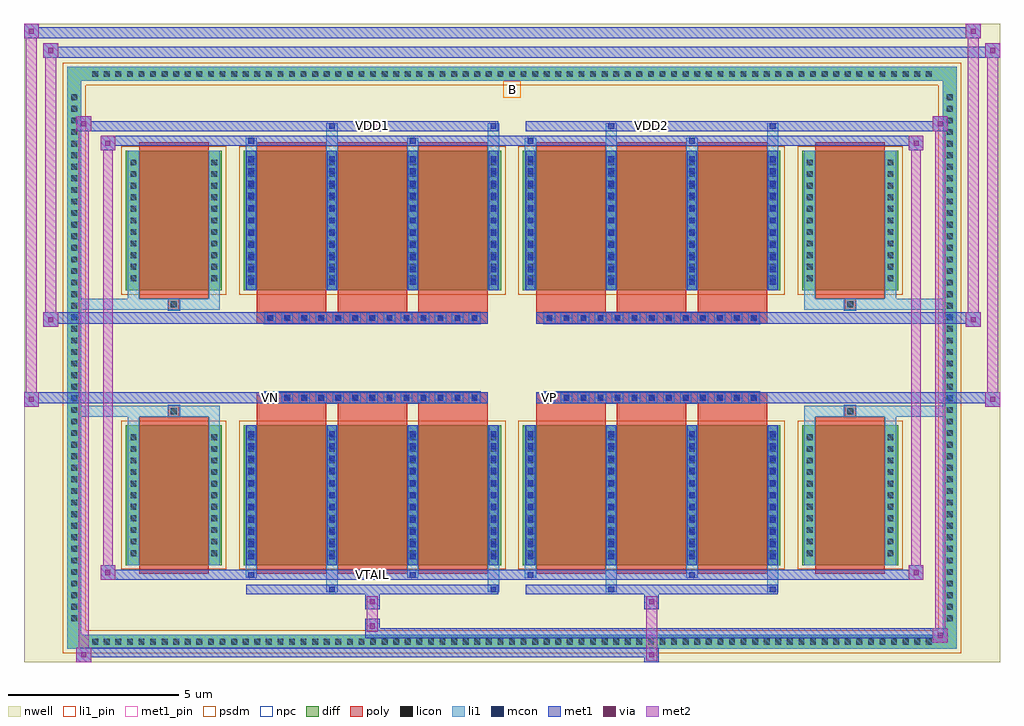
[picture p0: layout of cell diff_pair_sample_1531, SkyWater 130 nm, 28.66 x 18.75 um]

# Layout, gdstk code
import gdstk
lib = gdstk.Library(unit=1e-6, precision=5e-09)
def R(c, l, rs):  # rectangles x0, y0, x1, y1
    for r in rs: c.add(gdstk.rectangle(r[:2], r[2:], *l))
def A(c, l, x, y, w, h, nx, ny, dx, dy):  # array of equal rectangles
    R(c, l, [(x+i*dx, y+j*dy, x+i*dx+w, y+j*dy+h) for i in range(nx) for j in range(ny)])
def P(c, l, *ps):  # polygons
    for p in ps: c.add(gdstk.Polygon(p, *l))
nwell = (64, 20)
diff = (65, 20)
poly = (66, 20)
licon = (66, 44)
li1_pin = (67, 16)
li1 = (67, 20)
mcon = (67, 44)
met1_pin = (68, 16)
met1 = (68, 20)
via = (68, 44)
met2 = (69, 20)
psdm = (94, 20)
npc = (95, 20)

diff_pair_sample_1531 = lib.new_cell('diff_pair_sample_1531')
R(diff_pair_sample_1531, nwell, [(-14.33,-8.94,14.33,9.81), (-11.65,-7.13,-0.01,-0.805), (0.01,-7.13,11.65,-0.805), (-11.65,0.805,-0.01,7.13), (0.01,0.805,11.65,7.13)])
A(diff_pair_sample_1531, diff, -12.445, -8.54, 0.41, 0.41, 73, 2, 0.34, 16.67)
A(diff_pair_sample_1531, diff, -13.06, -7.855, 0.41, 0.41, 1, 46, 0, 0.34)
A(diff_pair_sample_1531, diff, 12.65, -7.855, 0.41, 0.41, 1, 46, 0, 0.34)
R(diff_pair_sample_1531, diff, [(-12.445,-8.54,12.445,-8.13), (-13.06,-7.855,-12.65,7.855), (12.65,-7.855,13.06,7.855), (-11.34,-6.085,-8.52,-1.985), (-7.88,-6.085,-0.32,-1.985), (0.32,-6.085,7.88,-1.985), (8.52,-6.085,11.34,-1.985), (-11.34,1.985,-8.52,6.085), (-7.88,1.985,-0.32,6.085), (0.32,1.985,7.88,6.085), (8.52,1.985,11.34,6.085), (-12.445,8.13,12.445,8.54)])
P(diff_pair_sample_1531, diff, [(13.06,8.54),(-13.06,8.54),(-13.06,-8.13),(-12.65,-8.13),(-12.65,8.13),(12.65,8.13),(12.65,-8.13),(-12.65,-8.13),(-13.06,-8.13),(-13.06,-8.54),(13.06,-8.54)])
A(diff_pair_sample_1531, poly, -7.49, -6.335, 2.04, 4.6, 3, 2, 2.37, 8.07)
A(diff_pair_sample_1531, poly, 0.71, -6.335, 2.04, 4.6, 3, 2, 2.37, 8.07)
A(diff_pair_sample_1531, poly, -7.49, -1.735, 2.04, 0.4, 3, 2, 2.37, 3.07)
A(diff_pair_sample_1531, poly, 0.71, -1.735, 2.04, 0.4, 3, 2, 2.37, 3.07)
A(diff_pair_sample_1531, poly, -7.265, -1.335, 0.33, 0.33, 13, 2, 0.5, 2.34)
A(diff_pair_sample_1531, poly, 0.935, -1.335, 0.33, 0.33, 13, 2, 0.5, 2.34)
R(diff_pair_sample_1531, poly, [(-10.95,-6.335,-8.91,-1.735), (8.91,-6.335,10.95,-1.735), (-10.095,-1.735,-9.765,-1.405), (-10.095,-1.735,-9.765,-1.405), (9.765,-1.735,10.095,-1.405), (9.765,-1.735,10.095,-1.405), (-7.49,-1.335,-0.71,-1.005), (0.71,-1.335,7.49,-1.005), (-7.49,1.005,-0.71,1.335), (0.71,1.005,7.49,1.335), (-10.095,1.405,-9.765,1.735), (-10.095,1.405,-9.765,1.735), (9.765,1.405,10.095,1.735), (9.765,1.405,10.095,1.735), (-10.95,1.735,-8.91,6.335), (8.91,1.735,10.95,6.335)])
A(diff_pair_sample_1531, licon, -12.325, -8.42, 0.17, 0.17, 73, 2, 0.34, 16.67)
A(diff_pair_sample_1531, licon, -12.94, -7.735, 0.17, 0.17, 1, 46, 0, 0.34)
A(diff_pair_sample_1531, licon, 12.77, -7.735, 0.17, 0.17, 1, 46, 0, 0.34)
A(diff_pair_sample_1531, licon, -11.2, -5.82, 0.17, 0.17, 1, 11, 0, 0.34)
A(diff_pair_sample_1531, licon, -8.83, -5.82, 0.17, 0.17, 1, 11, 0, 0.34)
A(diff_pair_sample_1531, licon, -7.74, -5.82, 0.17, 0.17, 4, 11, 2.37, 0.34)
A(diff_pair_sample_1531, licon, 0.46, -5.82, 0.17, 0.17, 4, 11, 2.37, 0.34)
A(diff_pair_sample_1531, licon, 8.66, -5.82, 0.17, 0.17, 1, 11, 0, 0.34)
A(diff_pair_sample_1531, licon, 11.03, -5.82, 0.17, 0.17, 1, 11, 0, 0.34)
A(diff_pair_sample_1531, licon, -7.185, -1.255, 0.17, 0.17, 13, 2, 0.5, 2.34)
A(diff_pair_sample_1531, licon, 1.015, -1.255, 0.17, 0.17, 13, 2, 0.5, 2.34)
A(diff_pair_sample_1531, licon, -11.2, 2.25, 0.17, 0.17, 1, 11, 0, 0.34)
A(diff_pair_sample_1531, licon, -8.83, 2.25, 0.17, 0.17, 1, 11, 0, 0.34)
A(diff_pair_sample_1531, licon, -7.74, 2.25, 0.17, 0.17, 4, 11, 2.37, 0.34)
A(diff_pair_sample_1531, licon, 0.46, 2.25, 0.17, 0.17, 4, 11, 2.37, 0.34)
A(diff_pair_sample_1531, licon, 8.66, 2.25, 0.17, 0.17, 1, 11, 0, 0.34)
A(diff_pair_sample_1531, licon, 11.03, 2.25, 0.17, 0.17, 1, 11, 0, 0.34)
R(diff_pair_sample_1531, licon, [(-10.015,-1.655,-9.845,-1.485), (9.845,-1.655,10.015,-1.485), (-10.015,1.485,-9.845,1.655), (9.845,1.485,10.015,1.655)])
R(diff_pair_sample_1531, li1_pin, [(-0.25,7.63,0.25,8.13)])
A(diff_pair_sample_1531, li1, -12.405, -8.5, 0.33, 0.33, 73, 2, 0.34, 16.67)
A(diff_pair_sample_1531, li1, -13.02, -7.815, 0.33, 0.33, 1, 46, 0, 0.34)
A(diff_pair_sample_1531, li1, 12.69, -7.815, 0.33, 0.33, 1, 46, 0, 0.34)
A(diff_pair_sample_1531, li1, -7.82, -6.085, 0.33, 4.1, 4, 2, 2.37, 8.07)
A(diff_pair_sample_1531, li1, 0.38, -6.085, 0.33, 4.1, 4, 2, 2.37, 8.07)
A(diff_pair_sample_1531, li1, -7.74, -5.92, 0.17, 0.17, 4, 11, 2.37, 0.36)
A(diff_pair_sample_1531, li1, -7.74, -5.92, 0.17, 3.77, 4, 2, 2.37, 8.07)
A(diff_pair_sample_1531, li1, 0.46, -5.92, 0.17, 0.17, 4, 11, 2.37, 0.36)
A(diff_pair_sample_1531, li1, 0.46, -5.92, 0.17, 3.77, 4, 2, 2.37, 8.07)
A(diff_pair_sample_1531, li1, -11.28, -5.9, 0.33, 0.33, 1, 11, 0, 0.34)
A(diff_pair_sample_1531, li1, -8.91, -5.9, 0.33, 0.33, 1, 11, 0, 0.34)
A(diff_pair_sample_1531, li1, -7.82, -5.9, 0.33, 0.33, 4, 11, 2.37, 0.34)
A(diff_pair_sample_1531, li1, 0.38, -5.9, 0.33, 0.33, 4, 11, 2.37, 0.34)
A(diff_pair_sample_1531, li1, 8.58, -5.9, 0.33, 0.33, 1, 11, 0, 0.34)
A(diff_pair_sample_1531, li1, 10.95, -5.9, 0.33, 0.33, 1, 11, 0, 0.34)
A(diff_pair_sample_1531, li1, -7.265, -1.335, 0.33, 0.33, 13, 2, 0.5, 2.34)
A(diff_pair_sample_1531, li1, 0.935, -1.335, 0.33, 0.33, 13, 2, 0.5, 2.34)
A(diff_pair_sample_1531, li1, -7.74, 2.15, 0.17, 0.17, 4, 11, 2.37, 0.36)
A(diff_pair_sample_1531, li1, 0.46, 2.15, 0.17, 0.17, 4, 11, 2.37, 0.36)
A(diff_pair_sample_1531, li1, -11.28, 2.17, 0.33, 0.33, 1, 11, 0, 0.34)
A(diff_pair_sample_1531, li1, -8.91, 2.17, 0.33, 0.33, 1, 11, 0, 0.34)
A(diff_pair_sample_1531, li1, -7.82, 2.17, 0.33, 0.33, 4, 11, 2.37, 0.34)
A(diff_pair_sample_1531, li1, 0.38, 2.17, 0.33, 0.33, 4, 11, 2.37, 0.34)
A(diff_pair_sample_1531, li1, 8.58, 2.17, 0.33, 0.33, 1, 11, 0, 0.34)
A(diff_pair_sample_1531, li1, 10.95, 2.17, 0.33, 0.33, 1, 11, 0, 0.34)
R(diff_pair_sample_1531, li1, [(-13.06,-8.54,-12.65,-8.13), (-13.06,-8.54,-12.65,-8.13), (-12.65,-8.54,12.65,-8.13), (12.65,-8.54,13.06,-8.13), (12.65,-8.54,13.06,-8.13), (-13.06,-8.13,-12.65,8.13), (12.65,-8.13,13.06,8.13), (-5.45,-6.89,-5.12,-6.085), (-5.37,-6.89,-5.2,-6.72), (-0.71,-6.89,-0.38,-6.085), (-0.63,-6.89,-0.46,-6.72), (2.75,-6.89,3.08,-6.085), (2.83,-6.89,3,-6.72), (7.49,-6.89,7.82,-6.085), (7.57,-6.89,7.74,-6.72), (-7.82,-6.46,-7.49,-6.085), (-7.74,-6.46,-7.57,-6.29), (-3.08,-6.46,-2.75,-6.085), (-3,-6.46,-2.83,-6.29), (0.38,-6.46,0.71,-6.085), (0.46,-6.46,0.63,-6.29), (5.12,-6.46,5.45,-6.085), (5.2,-6.46,5.37,-6.29), (-11.28,-6.085,-10.95,-1.985), (-8.91,-6.085,-8.58,-1.985), (8.58,-6.085,8.91,-1.985), (10.95,-6.085,11.28,-1.985), (-11.28,-1.985,-10.95,-1.405), (-8.91,-1.985,-8.58,-1.405), (8.58,-1.985,8.91,-1.405), (10.95,-1.985,11.28,-1.405), (-13.06,-1.735,-10.095,-1.405), (-11.28,-1.735,-10.095,-1.405), (-10.095,-1.735,-9.765,-1.405), (-9.765,-1.735,-8.58,-1.405), (8.58,-1.735,9.765,-1.405), (9.765,-1.735,10.095,-1.405), (9.765,-1.735,13.06,-1.405), (10.095,-1.735,11.28,-1.405), (-13.06,1.405,-10.095,1.735), (-11.28,1.405,-10.095,1.735), (-11.28,1.405,-10.95,1.985), (-10.095,1.405,-9.765,1.735), (-9.765,1.405,-8.58,1.735), (-8.91,1.405,-8.58,1.985), (8.58,1.405,9.765,1.735), (8.58,1.405,8.91,1.985), (9.765,1.405,10.095,1.735), (9.765,1.405,13.06,1.735), (10.095,1.405,11.28,1.735), (10.95,1.405,11.28,1.985), (-11.28,1.985,-10.95,6.085), (-8.91,1.985,-8.58,6.085), (8.58,1.985,8.91,6.085), (10.95,1.985,11.28,6.085), (-7.82,6.085,-7.49,6.46), (-5.45,6.085,-5.12,6.89), (-3.08,6.085,-2.75,6.46), (-0.71,6.085,-0.38,6.89), (0.38,6.085,0.71,6.46), (2.75,6.085,3.08,6.89), (5.12,6.085,5.45,6.46), (7.49,6.085,7.82,6.89), (-7.74,6.29,-7.57,6.46), (-3,6.29,-2.83,6.46), (0.46,6.29,0.63,6.46), (5.2,6.29,5.37,6.46), (-5.37,6.72,-5.2,6.89), (-0.63,6.72,-0.46,6.89), (2.83,6.72,3,6.89), (7.57,6.72,7.74,6.89), (-13.06,8.13,-12.65,8.54), (-13.06,8.13,-12.65,8.54), (-12.65,8.13,12.65,8.54), (12.65,8.13,13.06,8.54), (12.65,8.13,13.06,8.54)])
A(diff_pair_sample_1531, mcon, -7.74, -5.92, 0.17, 0.17, 4, 11, 2.37, 0.36)
A(diff_pair_sample_1531, mcon, 0.46, -5.92, 0.17, 0.17, 4, 11, 2.37, 0.36)
A(diff_pair_sample_1531, mcon, -7.185, -1.255, 0.17, 0.17, 13, 2, 0.5, 2.34)
A(diff_pair_sample_1531, mcon, 1.015, -1.255, 0.17, 0.17, 13, 2, 0.5, 2.34)
A(diff_pair_sample_1531, mcon, -7.74, 2.15, 0.17, 0.17, 4, 11, 2.37, 0.36)
A(diff_pair_sample_1531, mcon, 0.46, 2.15, 0.17, 0.17, 4, 11, 2.37, 0.36)
R(diff_pair_sample_1531, mcon, [(-5.37,-6.89,-5.2,-6.72), (-0.63,-6.89,-0.46,-6.72), (2.83,-6.89,3,-6.72), (7.57,-6.89,7.74,-6.72), (-7.74,-6.46,-7.57,-6.29), (-3,-6.46,-2.83,-6.29), (0.46,-6.46,0.63,-6.29), (5.2,-6.46,5.37,-6.29), (-7.74,6.29,-7.57,6.46), (-3,6.29,-2.83,6.46), (0.46,6.29,0.63,6.46), (5.2,6.29,5.37,6.46), (-5.37,6.72,-5.2,6.89), (-0.63,6.72,-0.46,6.89), (2.83,6.72,3,6.89), (7.57,6.72,7.74,6.89)])
R(diff_pair_sample_1531, met1_pin, [(-4.235,-6.5,-3.965,-6.23), (-7.235,-1.295,-6.965,-1.025), (0.965,-1.295,1.235,-1.025), (-4.235,6.68,-3.965,6.95), (3.965,6.68,4.235,6.95)])
A(diff_pair_sample_1531, met1, -7.8, -6.085, 0.29, 4.1, 4, 2, 2.37, 8.07)
A(diff_pair_sample_1531, met1, 0.4, -6.085, 0.29, 4.1, 4, 2, 2.37, 8.07)
A(diff_pair_sample_1531, met1, -7.8, -5.98, 0.29, 0.29, 4, 11, 2.37, 0.36)
A(diff_pair_sample_1531, met1, 0.4, -5.98, 0.29, 0.29, 4, 11, 2.37, 0.36)
A(diff_pair_sample_1531, met1, -7.245, -1.315, 0.29, 0.29, 13, 2, 0.5, 2.34)
A(diff_pair_sample_1531, met1, 0.955, -1.315, 0.29, 0.29, 13, 2, 0.5, 2.34)
A(diff_pair_sample_1531, met1, -7.8, 2.09, 0.29, 0.29, 4, 11, 2.37, 0.36)
A(diff_pair_sample_1531, met1, 0.4, 2.09, 0.29, 0.29, 4, 11, 2.37, 0.36)
R(diff_pair_sample_1531, met1, [(-12.79,-8.94,-12.36,-8.51), (3.885,-8.94,4.315,-8.51), (-12.79,-8.8,4.315,-8.51), (12.36,-8.37,12.79,-7.94), (-4.315,-8.23,12.79,-7.94), (-4.315,-8.09,-3.885,-7.66), (-4.315,-7.38,-3.885,-6.95), (3.885,-7.38,4.315,-6.95), (-7.8,-6.95,-0.4,-6.66), (-5.43,-6.95,-5.14,-6.66), (-0.69,-6.95,-0.4,-6.66), (0.4,-6.95,7.8,-6.66), (2.77,-6.95,3.06,-6.66), (7.51,-6.95,7.8,-6.66), (-12.08,-6.52,-11.65,-6.09), (-12.08,-6.52,-7.8,-6.23), (-7.8,-6.52,-7.51,-6.23), (-7.8,-6.52,-0.4,-6.23), (-3.06,-6.52,-2.77,-6.23), (-0.4,-6.52,0.4,-6.23), (0.4,-6.52,0.69,-6.23), (0.4,-6.52,7.8,-6.23), (5.14,-6.52,5.43,-6.23), (7.8,-6.52,12.08,-6.23), (11.65,-6.52,12.08,-6.09), (-14.33,-1.435,-13.9,-1.005), (13.9,-1.435,14.33,-1.005), (-14.33,-1.335,-0.71,-1.005), (-7.49,-1.335,-0.71,-1.005), (0.71,-1.335,7.49,-1.005), (0.71,-1.335,14.33,-1.005), (-13.76,0.905,-13.33,1.335), (13.33,0.905,13.76,1.335), (-13.76,1.005,-7.49,1.335), (-7.49,1.005,-0.71,1.335), (0.71,1.005,7.49,1.335), (7.49,1.005,13.76,1.335), (-12.08,6.09,-11.65,6.52), (11.65,6.09,12.08,6.52), (-12.08,6.23,-7.8,6.52), (-7.8,6.23,-7.51,6.52), (-7.8,6.23,-0.4,6.52), (-3.06,6.23,-2.77,6.52), (-0.4,6.23,0.4,6.52), (0.4,6.23,0.69,6.52), (0.4,6.23,7.8,6.52), (5.14,6.23,5.43,6.52), (7.8,6.23,12.08,6.52), (-12.79,6.66,-12.36,7.09), (-12.79,6.66,-7.8,6.95), (-7.8,6.66,-0.4,6.95), (-5.43,6.66,-5.14,6.95), (-0.69,6.66,-0.4,6.95), (0.4,6.66,7.8,6.95), (2.77,6.66,3.06,6.95), (7.51,6.66,7.8,6.95), (7.8,6.66,12.79,6.95), (12.36,6.66,12.79,7.09), (-13.76,8.81,-13.33,9.24), (-13.76,8.81,-11.65,9.14), (-11.65,8.81,11.65,9.14), (11.65,8.81,14.33,9.14), (13.9,8.81,14.33,9.24), (-14.33,9.38,-13.9,9.81), (-14.33,9.38,-11.65,9.71), (-11.65,9.38,11.65,9.71), (11.65,9.38,13.76,9.71), (13.33,9.38,13.76,9.81)])
R(diff_pair_sample_1531, via, [(-12.65,-8.8,-12.5,-8.65), (4.025,-8.8,4.175,-8.65), (12.5,-8.23,12.65,-8.08), (-4.175,-7.95,-4.025,-7.8), (-4.175,-7.24,-4.025,-7.09), (4.025,-7.24,4.175,-7.09), (-11.94,-6.38,-11.79,-6.23), (11.79,-6.38,11.94,-6.23), (-14.19,-1.295,-14.04,-1.145), (14.04,-1.295,14.19,-1.145), (-13.62,1.045,-13.47,1.195), (13.47,1.045,13.62,1.195), (-11.94,6.23,-11.79,6.38), (11.79,6.23,11.94,6.38), (-12.65,6.8,-12.5,6.95), (12.5,6.8,12.65,6.95), (-13.62,8.95,-13.47,9.1), (14.04,8.95,14.19,9.1), (-14.19,9.52,-14.04,9.67), (13.47,9.52,13.62,9.67)])
R(diff_pair_sample_1531, met2, [(-12.79,-8.94,-12.36,-8.51), (-12.72,-8.94,-12.43,7.09), (-12.43,-8.94,-12.36,-8.51), (-12.74,-8.89,-12.41,-8.56), (3.935,-8.89,4.265,-8.56), (3.935,-8.56,4.265,-7.33), (12.36,-8.37,12.79,-7.94), (12.43,-8.37,12.72,7.09), (12.72,-8.37,12.79,-7.94), (12.41,-8.32,12.74,-7.99), (-4.265,-8.04,-3.935,-7.71), (-4.265,-7.71,-3.935,-7.33), (-4.265,-7.33,-3.935,-7), (3.935,-7.33,4.265,-7), (-12.08,-6.52,-11.65,-6.09), (-12.01,-6.52,-11.72,6.52), (-11.72,-6.52,-11.65,-6.09), (11.65,-6.52,12.08,-6.09), (11.72,-6.52,12.01,6.52), (12.01,-6.52,12.08,-6.09), (-12.03,-6.47,-11.7,-6.14), (11.7,-6.47,12.03,-6.14), (-14.33,-1.435,-13.9,-1.005), (-14.28,-1.435,-13.95,9.81), (-13.95,-1.435,-13.9,-1.005), (13.9,-1.435,14.33,-1.005), (13.95,-1.435,14.28,9.24), (14.28,-1.435,14.33,-1.005), (-14.28,-1.385,-13.95,-1.055), (13.95,-1.385,14.28,-1.055), (-13.76,0.905,-13.33,1.335), (-13.71,0.905,-13.38,9.24), (-13.38,0.905,-13.33,1.335), (13.33,0.905,13.76,1.335), (13.38,0.905,13.71,9.81), (13.71,0.905,13.76,1.335), (-13.71,0.955,-13.38,1.285), (13.38,0.955,13.71,1.285), (-12.08,6.09,-11.65,6.52), (-11.72,6.09,-11.65,6.52), (11.65,6.09,12.08,6.52), (12.01,6.09,12.08,6.52), (-12.03,6.14,-11.7,6.47), (11.7,6.14,12.03,6.47), (-12.79,6.66,-12.36,7.09), (-12.43,6.66,-12.36,7.09), (12.36,6.66,12.79,7.09), (12.72,6.66,12.79,7.09), (-12.74,6.71,-12.41,7.04), (12.41,6.71,12.74,7.04), (-13.76,8.81,-13.33,9.24), (-13.38,8.81,-13.33,9.24), (13.9,8.81,14.33,9.24), (14.28,8.81,14.33,9.24), (-13.71,8.86,-13.38,9.19), (13.95,8.86,14.28,9.19), (-14.33,9.38,-13.9,9.81), (-13.95,9.38,-13.9,9.81), (13.33,9.38,13.76,9.81), (13.71,9.38,13.76,9.81), (-14.28,9.43,-13.95,9.76), (13.38,9.43,13.71,9.76)])
R(diff_pair_sample_1531, psdm, [(-11.47,-6.215,-8.39,-1.855), (-8.01,-6.215,-0.19,-1.855), (0.19,-6.215,8.01,-1.855), (8.39,-6.215,11.47,-1.855), (-11.47,1.855,-8.39,6.215), (-8.01,1.855,-0.19,6.215), (0.19,1.855,8.01,6.215), (8.39,1.855,11.47,6.215)])
P(diff_pair_sample_1531, psdm, [(13.19,8.67),(-13.19,8.67),(-13.19,-8),(-12.52,-8),(-12.52,8),(12.52,8),(12.52,-8),(-12.52,-8),(-13.19,-8),(-13.19,-8.67),(13.19,-8.67)])
A(diff_pair_sample_1531, npc, -7.285, -1.355, 0.37, 0.37, 13, 2, 0.5, 2.34)
A(diff_pair_sample_1531, npc, 0.915, -1.355, 0.37, 0.37, 13, 2, 0.5, 2.34)
R(diff_pair_sample_1531, npc, [(-10.115,-1.755,-9.745,-1.385), (9.745,-1.755,10.115,-1.385), (-7.285,-1.355,-6.415,-0.985), (-7.285,-1.355,-6.415,-0.985), (-6.785,-1.355,-5.915,-0.985), (-6.785,-1.355,-5.915,-0.985), (-6.285,-1.355,-5.415,-0.985), (-6.285,-1.355,-5.415,-0.985), (-5.785,-1.355,-4.915,-0.985), (-5.785,-1.355,-4.915,-0.985), (-5.285,-1.355,-4.415,-0.985), (-5.285,-1.355,-4.415,-0.985), (-4.785,-1.355,-3.915,-0.985), (-4.785,-1.355,-3.915,-0.985), (-4.285,-1.355,-3.415,-0.985), (-4.285,-1.355,-3.415,-0.985), (-3.785,-1.355,-2.915,-0.985), (-3.785,-1.355,-2.915,-0.985), (-3.285,-1.355,-2.415,-0.985), (-3.285,-1.355,-2.415,-0.985), (-2.785,-1.355,-1.915,-0.985), (-2.785,-1.355,-1.915,-0.985), (-2.285,-1.355,-1.415,-0.985), (-2.285,-1.355,-1.415,-0.985), (-1.785,-1.355,-0.915,-0.985), (-1.785,-1.355,-0.915,-0.985), (0.915,-1.355,1.785,-0.985), (0.915,-1.355,1.785,-0.985), (1.415,-1.355,2.285,-0.985), (1.415,-1.355,2.285,-0.985), (1.915,-1.355,2.785,-0.985), (1.915,-1.355,2.785,-0.985), (2.415,-1.355,3.285,-0.985), (2.415,-1.355,3.285,-0.985), (2.915,-1.355,3.785,-0.985), (2.915,-1.355,3.785,-0.985), (3.415,-1.355,4.285,-0.985), (3.415,-1.355,4.285,-0.985), (3.915,-1.355,4.785,-0.985), (3.915,-1.355,4.785,-0.985), (4.415,-1.355,5.285,-0.985), (4.415,-1.355,5.285,-0.985), (4.915,-1.355,5.785,-0.985), (4.915,-1.355,5.785,-0.985), (5.415,-1.355,6.285,-0.985), (5.415,-1.355,6.285,-0.985), (5.915,-1.355,6.785,-0.985), (5.915,-1.355,6.785,-0.985), (6.415,-1.355,7.285,-0.985), (6.415,-1.355,7.285,-0.985), (-7.285,0.985,-6.415,1.355), (-7.285,0.985,-6.415,1.355), (-6.785,0.985,-5.915,1.355), (-6.785,0.985,-5.915,1.355), (-6.285,0.985,-5.415,1.355), (-6.285,0.985,-5.415,1.355), (-5.785,0.985,-4.915,1.355), (-5.785,0.985,-4.915,1.355), (-5.285,0.985,-4.415,1.355), (-5.285,0.985,-4.415,1.355), (-4.785,0.985,-3.915,1.355), (-4.785,0.985,-3.915,1.355), (-4.285,0.985,-3.415,1.355), (-4.285,0.985,-3.415,1.355), (-3.785,0.985,-2.915,1.355), (-3.785,0.985,-2.915,1.355), (-3.285,0.985,-2.415,1.355), (-3.285,0.985,-2.415,1.355), (-2.785,0.985,-1.915,1.355), (-2.785,0.985,-1.915,1.355), (-2.285,0.985,-1.415,1.355), (-2.285,0.985,-1.415,1.355), (-1.785,0.985,-0.915,1.355), (-1.785,0.985,-0.915,1.355), (0.915,0.985,1.785,1.355), (0.915,0.985,1.785,1.355), (1.415,0.985,2.285,1.355), (1.415,0.985,2.285,1.355), (1.915,0.985,2.785,1.355), (1.915,0.985,2.785,1.355), (2.415,0.985,3.285,1.355), (2.415,0.985,3.285,1.355), (2.915,0.985,3.785,1.355), (2.915,0.985,3.785,1.355), (3.415,0.985,4.285,1.355), (3.415,0.985,4.285,1.355), (3.915,0.985,4.785,1.355), (3.915,0.985,4.785,1.355), (4.415,0.985,5.285,1.355), (4.415,0.985,5.285,1.355), (4.915,0.985,5.785,1.355), (4.915,0.985,5.785,1.355), (5.415,0.985,6.285,1.355), (5.415,0.985,6.285,1.355), (5.915,0.985,6.785,1.355), (5.915,0.985,6.785,1.355), (6.415,0.985,7.285,1.355), (6.415,0.985,7.285,1.355), (-10.115,1.385,-9.745,1.755), (9.745,1.385,10.115,1.755)])
diff_pair_sample_1531.add(gdstk.Label('VTAIL', (-4.1,-6.365), layer=68, texttype=5))
diff_pair_sample_1531.add(gdstk.Label('VN', (-7.1,-1.16), layer=68, texttype=5))
diff_pair_sample_1531.add(gdstk.Label('VP', (1.1,-1.16), layer=68, texttype=5))
diff_pair_sample_1531.add(gdstk.Label('B', (0,7.88), layer=67, texttype=5))
diff_pair_sample_1531.add(gdstk.Label('VDD2', (4.1,6.815), layer=68, texttype=5))
diff_pair_sample_1531.add(gdstk.Label('VDD1', (-4.1,6.815), layer=68, texttype=5))

lib.write_gds('diff_pair_sample_1531.gds')
